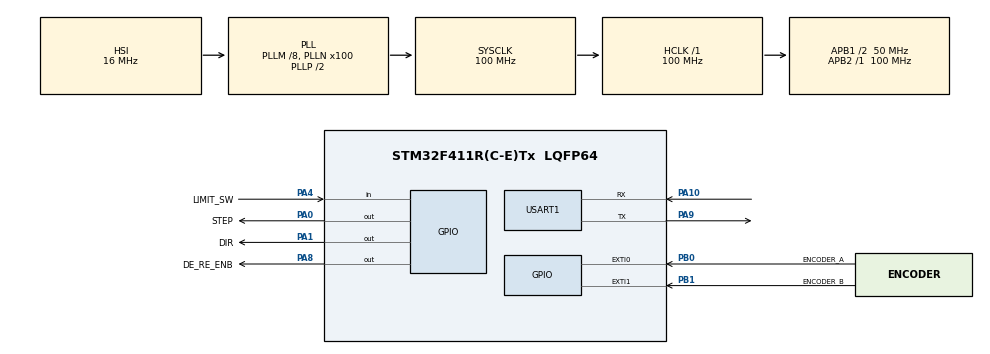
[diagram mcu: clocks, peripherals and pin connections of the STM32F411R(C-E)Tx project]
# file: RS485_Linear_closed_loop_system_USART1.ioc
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FREERTOS.Tasks01=EncoderTask,0,128,StartEncoderTask,Default,NULL,Dynamic,NULL,NULL;MotorTask,-1,128,StartMotorTask,Default,NULL,Dynamic,NULL,NULL
Mcu.Family=STM32F4
Mcu.Name=STM32F411R(C-E)Tx
Mcu.Package=LQFP64
NVIC.EXTI0_IRQn=true\:5\:0\:false\:false\:true\:true\:true\:true\:true
NVIC.EXTI1_IRQn=true\:5\:0\:false\:false\:true\:true\:true\:true\:true
NVIC.PriorityGroup=NVIC_PRIORITYGROUP_4
NVIC.TIM2_IRQn=true\:15\:0\:false\:false\:true\:false\:false\:true\:true
NVIC.TimeBase=TIM2_IRQn
NVIC.TimeBaseIP=TIM2
NVIC.USART1_IRQn=true\:5\:0\:false\:false\:true\:true\:true\:true\:true
PA0-WKUP.GPIO_Label=STEP
PA0-WKUP.Signal=GPIO_Output
PA1.GPIO_Label=DIR
PA1.Signal=GPIO_Output
PA10.Mode=Asynchronous
PA10.Signal=USART1_RX
PA4.GPIO_Label=LIMIT_SW
PA4.GPIO_PuPd=GPIO_PULLUP
PA4.Signal=GPIO_Input
PA8.GPIO_Label=DE_RE_ENB
PA8.Signal=GPIO_Output
PA9.Mode=Asynchronous
PA9.Signal=USART1_TX
PB0.GPIO_Label=ENCODER_A
PB0.GPIO_ModeDefaultEXTI=GPIO_MODE_IT_RISING_FALLING
PB0.GPIO_PuPd=GPIO_PULLUP
PB0.Signal=GPXTI0
PB1.GPIO_Label=ENCODER_B
PB1.GPIO_ModeDefaultEXTI=GPIO_MODE_IT_RISING_FALLING
PB1.GPIO_PuPd=GPIO_PULLUP
PB1.Signal=GPXTI1
PH0\ -\ OSC_IN.Mode=HSE-External-Oscillator
PH0\ -\ OSC_IN.Signal=RCC_OSC_IN
PH1\ -\ OSC_OUT.Mode=HSE-External-Oscillator
PH1\ -\ OSC_OUT.Signal=RCC_OSC_OUT
ProjectManager.HeapSize=0x200
ProjectManager.StackSize=0x400
ProjectManager.TargetToolchain=STM32CubeIDE
RCC.48MHZClocksFreq_Value=50000000
RCC.AHBFreq_Value=100000000
RCC.APB1CLKDivider=RCC_HCLK_DIV2
RCC.APB1Freq_Value=50000000
RCC.APB1TimFreq_Value=100000000
RCC.APB2Freq_Value=100000000
RCC.APB2TimFreq_Value=100000000
RCC.CortexFreq_Value=100000000
RCC.FLatency-AdvancedSettings=FLASH_LATENCY_3
RCC.HCLKFreq_Value=100000000
RCC.HSE_VALUE=8000000
RCC.HSI_VALUE=16000000
RCC.LSE_VALUE=32768
RCC.PLLM=8
RCC.PLLN=100
RCC.SYSCLKFreq_VALUE=100000000
RCC.SYSCLKSource=RCC_SYSCLKSOURCE_PLLCLK
RCC.VCOOutputFreq_Value=200000000
TIM1.Prescaler=90
USART1.VirtualMode=VM_ASYNC
VP_FREERTOS_VS_CMSIS_V1.Mode=CMSIS_V1
VP_SYS_VS_tim2.Mode=TIM2
VP_TIM1_VS_ClockSourceINT.Mode=Internal
board=NUCLEO-F411RE

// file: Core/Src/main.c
/* USER CODE BEGIN Header */
/**
  ******************************************************************************
  * @file           : main.c
  * @brief          : Main program body
  ******************************************************************************
  * @attention
  *
  * Copyright (c) 2024 STMicroelectronics.
  * All rights reserved.
  *
  * This software is licensed under terms that can be found in the LICENSE file
  * in the root directory of this software component.
  * If no LICENSE file comes with this software, it is provided AS-IS.
  *
  ******************************************************************************
  */
/* USER CODE END Header */
#include "main.h"
#include "cmsis_os.h"

/* USER CODE BEGIN Includes */
#include "PlebcStepper.h"
#include "modbus_rtu_slave.h"
#include "stdio.h"
#include "stdint.h"
#include "string.h"
#include "stdlib.h"
/* USER CODE END Includes */

/* USER CODE BEGIN PTD */
int rpm = 50;
int motorSetSteps = 6400;

volatile int lastEncoded = 0;
volatile long encoderValue = 0;
int lastMSB = 0;
int lastLSB = 0;

int input_distance= 0;
long int updatedEncoderValue;
long int currentPosition = 0;
float targetPosition = 0;
long int positionToMove = 0;
int stepsToMove = 0;
float enc_val_in_1rev = 1130.00; //linear encoder values in 1 revolution
int mm_in_1rev = 40; //distance covered on 1 revolution (in mm)(linear encoder)

/* USER CODE END PTD */

/* USER CODE BEGIN PD */

/* Pins on Board */
//	PA0 -> STEP
//	PA1 -> DIR
//	PA9 -> USART1_TX
//	PA10 -> USART1_RX
//  PA8 -> DE_RE_Pin (DE,RE Pin of RS485 module)
//	PA4 -> LIMIT_SW
//	PB0 -> ENCODER_A
//	PB1 -> ENCODER_B

/* User Instructions */
//	1mm = 160 steps

/* USER CODE END PD */

TIM_HandleTypeDef htim1;

UART_HandleTypeDef huart1;

osThreadId EncoderTaskHandle;
osThreadId MotorTaskHandle;

void SystemClock_Config(void);
static void MX_GPIO_Init(void);
static void MX_TIM1_Init(void);
static void MX_USART1_UART_Init(void);
void StartEncoderTask(void const * argument);
void StartMotorTask(void const * argument);

/* USER CODE BEGIN 0 */
void updateEncoder(void)
{
  int MSB = HAL_GPIO_ReadPin(GPIOB, ENCODER_A_Pin);
  int LSB = HAL_GPIO_ReadPin(GPIOB, ENCODER_B_Pin);

  int encoded = (MSB << 1) | LSB;
  int sum = (lastEncoded << 2) | encoded;

  if (sum == 0b1101 || sum == 0b0100 || sum == 0b0010 || sum == 0b1011)
    encoderValue++;
  if (sum == 0b1110 || sum == 0b0111 || sum == 0b0001 || sum == 0b1000)
    encoderValue--;

  lastEncoded = encoded;
}
void HAL_GPIO_EXTI_Callback(uint16_t GPIO_Pin)
{
  if (GPIO_Pin == ENCODER_A_Pin || GPIO_Pin == ENCODER_B_Pin)
  {
    updateEncoder();
    Input_Registers_Database[1] = encoderValue; // Store the encoder value in the first input register
  }
}

// Function to start UART reception
void UART_StartReceive(void)
{
  // Enable reception by setting DE and RE pins high
  HAL_GPIO_WritePin(DE_RE_ENB_GPIO_Port, DE_RE_ENB_Pin, GPIO_PIN_RESET);

  HAL_UARTEx_ReceiveToIdle_IT(&huart1, RxData, RX_BUFFER_SIZE);

}

/* USER CODE END 0 */

int main(void)
{

  /* MCU Configuration--------------------------------------------------------*/

  /* Reset of all peripherals, Initializes the Flash interface and the Systick. */
  HAL_Init();

  /* Configure the system clock */
  SystemClock_Config();

  /* Initialize all configured peripherals */
  MX_GPIO_Init();
  MX_TIM1_Init();
  MX_USART1_UART_Init();
  /* USER CODE BEGIN 2 */
  HAL_TIM_Base_Start(&htim1);
  UART_StartReceive();
  /* USER CODE END 2 */

  /* Create the thread(s) */
  /* definition and creation of EncoderTask */
  osThreadDef(EncoderTask, StartEncoderTask, osPriorityNormal, 0, 128);
  EncoderTaskHandle = osThreadCreate(osThread(EncoderTask), NULL);

  /* definition and creation of MotorTask */
  osThreadDef(MotorTask, StartMotorTask, osPriorityBelowNormal, 0, 128);
  MotorTaskHandle = osThreadCreate(osThread(MotorTask), NULL);

  /* Start scheduler */
  osKernelStart();
  /* We should never get here as control is now taken by the scheduler */
  /* Infinite loop */
  while (1)
  {

  }
}

void SystemClock_Config(void)
{
  RCC_OscInitTypeDef RCC_OscInitStruct = {0};
  RCC_ClkInitTypeDef RCC_ClkInitStruct = {0};

  /** Configure the main internal regulator output voltage
  */
  __HAL_RCC_PWR_CLK_ENABLE();
  __HAL_PWR_VOLTAGESCALING_CONFIG(PWR_REGULATOR_VOLTAGE_SCALE1);

  /** Initializes the RCC Oscillators according to the specified parameters
  * in the RCC_OscInitTypeDef structure.
  */
  RCC_OscInitStruct.OscillatorType = RCC_OSCILLATORTYPE_HSI;
  RCC_OscInitStruct.HSIState = RCC_HSI_ON;
  RCC_OscInitStruct.HSICalibrationValue = RCC_HSICALIBRATION_DEFAULT;
  RCC_OscInitStruct.PLL.PLLState = RCC_PLL_ON;
  RCC_OscInitStruct.PLL.PLLSource = RCC_PLLSOURCE_HSI;
  RCC_OscInitStruct.PLL.PLLM = 8;
  RCC_OscInitStruct.PLL.PLLN = 100;
  RCC_OscInitStruct.PLL.PLLP = RCC_PLLP_DIV2;
  RCC_OscInitStruct.PLL.PLLQ = 4;
  if (HAL_RCC_OscConfig(&RCC_OscInitStruct) != HAL_OK)
  {
    Error_Handler();
  }

  /** Initializes the CPU, AHB and APB buses clocks
  */
  RCC_ClkInitStruct.ClockType = RCC_CLOCKTYPE_HCLK|RCC_CLOCKTYPE_SYSCLK
                              |RCC_CLOCKTYPE_PCLK1|RCC_CLOCKTYPE_PCLK2;
  RCC_ClkInitStruct.SYSCLKSource = RCC_SYSCLKSOURCE_PLLCLK;
  RCC_ClkInitStruct.AHBCLKDivider = RCC_SYSCLK_DIV1;
  RCC_ClkInitStruct.APB1CLKDivider = RCC_HCLK_DIV2;
  RCC_ClkInitStruct.APB2CLKDivider = RCC_HCLK_DIV1;

  if (HAL_RCC_ClockConfig(&RCC_ClkInitStruct, FLASH_LATENCY_3) != HAL_OK)
  {
    Error_Handler();
  }
}

static void MX_TIM1_Init(void)
{

  TIM_ClockConfigTypeDef sClockSourceConfig = {0};
  TIM_MasterConfigTypeDef sMasterConfig = {0};

  htim1.Instance = TIM1;
  htim1.Init.Prescaler = 90;
  htim1.Init.CounterMode = TIM_COUNTERMODE_UP;
  htim1.Init.Period = 65535;
  htim1.Init.ClockDivision = TIM_CLOCKDIVISION_DIV1;
  htim1.Init.RepetitionCounter = 0;
  htim1.Init.AutoReloadPreload = TIM_AUTORELOAD_PRELOAD_DISABLE;
  if (HAL_TIM_Base_Init(&htim1) != HAL_OK)
  {
    Error_Handler();
  }
  sClockSourceConfig.ClockSource = TIM_CLOCKSOURCE_INTERNAL;
  if (HAL_TIM_ConfigClockSource(&htim1, &sClockSourceConfig) != HAL_OK)
  {
    Error_Handler();
  }
  sMasterConfig.MasterOutputTrigger = TIM_TRGO_RESET;
  sMasterConfig.MasterSlaveMode = TIM_MASTERSLAVEMODE_DISABLE;
  if (HAL_TIMEx_MasterConfigSynchronization(&htim1, &sMasterConfig) != HAL_OK)
  {
    Error_Handler();
  }

}

static void MX_USART1_UART_Init(void)
{

  huart1.Instance = USART1;
  huart1.Init.BaudRate = 115200;
  huart1.Init.WordLength = UART_WORDLENGTH_8B;
  huart1.Init.StopBits = UART_STOPBITS_1;
  huart1.Init.Parity = UART_PARITY_NONE;
  huart1.Init.Mode = UART_MODE_TX_RX;
  huart1.Init.HwFlowCtl = UART_HWCONTROL_NONE;
  huart1.Init.OverSampling = UART_OVERSAMPLING_16;
  if (HAL_UART_Init(&huart1) != HAL_OK)
  {
    Error_Handler();
  }

}

static void MX_GPIO_Init(void)
{
  GPIO_InitTypeDef GPIO_InitStruct = {0};

  /* GPIO Ports Clock Enable */
  __HAL_RCC_GPIOH_CLK_ENABLE();
  __HAL_RCC_GPIOA_CLK_ENABLE();
  __HAL_RCC_GPIOB_CLK_ENABLE();

  /*Configure GPIO pin Output Level */
  HAL_GPIO_WritePin(GPIOA, STEP_Pin|DIR_Pin|DE_RE_ENB_Pin, GPIO_PIN_RESET);

  /*Configure GPIO pins : STEP_Pin DIR_Pin DE_RE_ENB_Pin */
  GPIO_InitStruct.Pin = STEP_Pin|DIR_Pin|DE_RE_ENB_Pin;
  GPIO_InitStruct.Mode = GPIO_MODE_OUTPUT_PP;
  GPIO_InitStruct.Pull = GPIO_NOPULL;
  GPIO_InitStruct.Speed = GPIO_SPEED_FREQ_LOW;
  HAL_GPIO_Init(GPIOA, &GPIO_InitStruct);

  /*Configure GPIO pin : LIMIT_SW_Pin */
  GPIO_InitStruct.Pin = LIMIT_SW_Pin;
  GPIO_InitStruct.Mode = GPIO_MODE_INPUT;
  GPIO_InitStruct.Pull = GPIO_PULLUP;
  HAL_GPIO_Init(LIMIT_SW_GPIO_Port, &GPIO_InitStruct);

  /*Configure GPIO pins : ENCODER_A_Pin ENCODER_B_Pin */
  GPIO_InitStruct.Pin = ENCODER_A_Pin|ENCODER_B_Pin;
  GPIO_InitStruct.Mode = GPIO_MODE_IT_RISING_FALLING;
  GPIO_InitStruct.Pull = GPIO_PULLUP;
  HAL_GPIO_Init(GPIOB, &GPIO_InitStruct);

  /* EXTI interrupt init*/
  HAL_NVIC_SetPriority(EXTI0_IRQn, 5, 0);
  HAL_NVIC_EnableIRQ(EXTI0_IRQn);

  HAL_NVIC_SetPriority(EXTI1_IRQn, 5, 0);
  HAL_NVIC_EnableIRQ(EXTI1_IRQn);

}

void StartEncoderTask(void const * argument)
{
  /* USER CODE BEGIN 5 */
  /* Infinite loop */
	//uint16_t dumyValue = 0;
  for(;;)
  {

	//Input_Registers_Database[0] = dumyValue++;
    osDelay(10);
  }
  /* USER CODE END 5 */
}

/* USER CODE BEGIN Header_StartMotorTask */
/**
* @brief Function implementing the MotorTask thread.
* @param argument: Not used
* @retval None
*/

// Function to initialize motor position
void homePosition(MotorConfig* motor) {
    // Move motor backward until limit switch is triggered
    while (HAL_GPIO_ReadPin(LIMIT_SW_GPIO_Port, LIMIT_SW_Pin) == GPIO_PIN_SET) {
    	// Calculate the new speed and step interval
		unsigned long stepInterval = computeNewSpeed();

		// Generate a step pulse with the calculated interval
		HAL_GPIO_WritePin(motor->STEP_PORT, motor->STEP_PIN, GPIO_PIN_SET);
		microDelay(stepInterval / 2);  // Half of the interval for the high pulse
		HAL_GPIO_WritePin(motor->STEP_PORT, motor->STEP_PIN, GPIO_PIN_RESET);
		microDelay(stepInterval / 2);  // Half of the interval for the low pulse
    }
    HAL_Delay(300);
    // move motor forward 3mm or 480 steps
    motorMove(motor, 480); // motor will move 3mm or 480 steps after hitting the limit switch
    // Set encoder value to zero
    __disable_irq();
    encoderValue = 0;
    __enable_irq();
}

/* USER CODE END Header_StartMotorTask */
void StartMotorTask(void const * argument)
{
  /* USER CODE BEGIN StartMotorTask */

  // Define motor configurations
  MotorConfig motor1 = {GPIOA, GPIO_PIN_1, GPIOA, GPIO_PIN_0};

  // Setup stepper motor parameters
  setRPM(rpm, motorSetSteps); // (RPM, Steps)
  setAcceleration(20.0f); // Set acceleration in steps per second^2

  // Initialize motor position
   homePosition(&motor1);

  /* Infinite loop */
  for(;;)
  {

    // Disable interrupts and read the encoder value
//    __disable_irq();
    currentPosition = encoderValue; // Read the latest encoder value
//    __enable_irq();

	// Calculate target position with floating-point division
	//targetPosition = input_distance * ((float)encoderPulseValue / 360.0f); // in encoder value
	targetPosition = input_distance * (enc_val_in_1rev/mm_in_1rev); // in encoder value

	// Calculate position to move
	positionToMove = (long int)targetPosition - currentPosition; // in encoder value

	// Calculate steps to move
	//stepsToMove = positionToMove * (motorSetSteps / (float)encoderPulseValue);
	stepsToMove = positionToMove * (motorSetSteps / (float)enc_val_in_1rev);

	// Move motor
	motorMove(&motor1, stepsToMove);

	osDelay(100);
  }
  /* USER CODE END StartMotorTask */
}

void HAL_TIM_PeriodElapsedCallback(TIM_HandleTypeDef *htim)
{
  if (htim->Instance == TIM2) {
    HAL_IncTick();
  }
}

void Error_Handler(void)
{
  __disable_irq();
  while (1)
  {
  }
}
